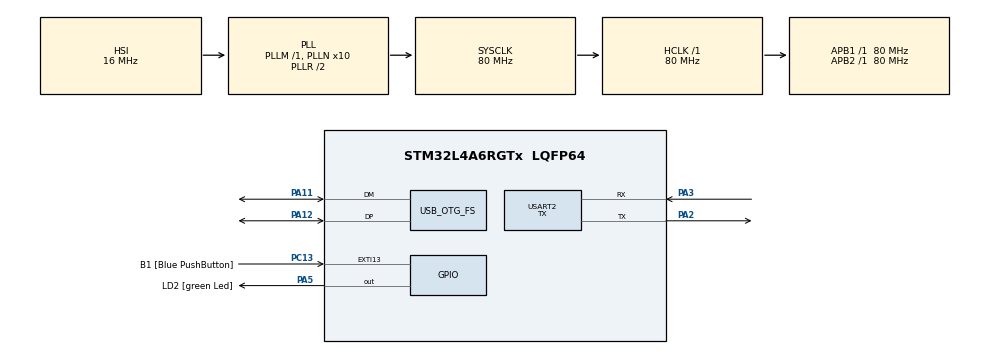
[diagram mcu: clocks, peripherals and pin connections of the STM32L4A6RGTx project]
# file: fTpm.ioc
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Mcu.Family=STM32L4
Mcu.Name=STM32L4A6RGTx
Mcu.Package=LQFP64
NVIC.OTG_FS_IRQn=true\:0\:0\:false\:false\:true\:false
NVIC.PriorityGroup=NVIC_PRIORITYGROUP_4
PA11.Mode=Device_Only
PA11.Signal=USB_OTG_FS_DM
PA12.Mode=Device_Only
PA12.Signal=USB_OTG_FS_DP
PA13\ (JTMS/SWDIO).Mode=Trace_Asynchronous_SW
PA13\ (JTMS/SWDIO).Signal=SYS_JTMS-SWDIO
PA14\ (JTCK/SWCLK).Mode=Trace_Asynchronous_SW
PA14\ (JTCK/SWCLK).Signal=SYS_JTCK-SWCLK
PA2.Mode=Asynchronous
PA2.Signal=USART2_TX
PA3.Mode=Asynchronous
PA3.Signal=USART2_RX
PA5.GPIO_Label=LD2 [green Led]
PA5.Signal=GPIO_Output
PB3\ (JTDO/TRACESWO).Mode=Trace_Asynchronous_SW
PB3\ (JTDO/TRACESWO).Signal=SYS_JTDO-SWO
PC13.GPIO_Label=B1 [Blue PushButton]
PC13.Signal=GPXTI13
PC14-OSC32_IN\ (PC14).Mode=LSE-External-Oscillator
PC14-OSC32_IN\ (PC14).Signal=RCC_OSC32_IN
PC15-OSC32_OUT\ (PC15).Mode=LSE-External-Oscillator
PC15-OSC32_OUT\ (PC15).Signal=RCC_OSC32_OUT
ProjectManager.HeapSize=0x2000
ProjectManager.StackSize=0x2000
ProjectManager.TargetToolchain=TrueSTUDIO
RCC.ADCFreq_Value=64000000
RCC.AHBFreq_Value=80000000
RCC.APB1Freq_Value=80000000
RCC.APB1TimFreq_Value=80000000
RCC.APB2Freq_Value=80000000
RCC.APB2TimFreq_Value=80000000
RCC.CK48CLockSelection=RCC_USBCLKSOURCE_HSI48
RCC.CortexFreq_Value=80000000
RCC.HCLKFreq_Value=80000000
RCC.HSE_VALUE=8000000
RCC.HSI48_VALUE=48000000
RCC.HSI_VALUE=16000000
RCC.MSI_VALUE=4000000
RCC.PLLN=10
RCC.PLLSourceVirtual=RCC_PLLSOURCE_HSI
RCC.RTCClockSelection=RCC_RTCCLKSOURCE_LSE
RCC.SYSCLKFreq_VALUE=80000000
RCC.SYSCLKSource=RCC_SYSCLKSOURCE_PLLCLK
RCC.USBFreq_Value=48000000
RCC.VCOOutputFreq_Value=160000000
RTC.Format=RTC_FORMAT_BIN
USART2.Mode=MODE_TX
USART2.VirtualMode-Asynchronous=VM_ASYNC
USART2.WordLength=WORDLENGTH_8B
USB_DEVICE.CLASS_NAME_FS=CDC
USB_DEVICE.VirtualMode=Cdc
USB_DEVICE.VirtualModeFS=Cdc_FS
USB_OTG_FS.VirtualMode=Device_Only
VP_RNG_VS_RNG.Mode=RNG_Activate
VP_RTC_VS_RTC_Activate.Mode=RTC_Enabled
VP_RTC_VS_RTC_Calendar.Mode=RTC_Calendar
VP_USB_DEVICE_VS_USB_DEVICE_CDC_FS.Mode=CDC_FS
board=fTpm

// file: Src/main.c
/**
  ******************************************************************************
  * @file           : main.c
  * @brief          : Main program body
  ******************************************************************************
  * This notice applies to any and all portions of this file
  * that are not between comment pairs USER CODE BEGIN and
  * USER CODE END. Other portions of this file, whether
  * inserted by the user or by software development tools
  * are owned by their respective copyright owners.
  *
  * Copyright (c) 2018 STMicroelectronics International N.V.
  * All rights reserved.
  *
  * Redistribution and use in source and binary forms, with or without
  * modification, are permitted, provided that the following conditions are met:
  *
  * 1. Redistribution of source code must retain the above copyright notice,
  *    this list of conditions and the following disclaimer.
  * 2. Redistributions in binary form must reproduce the above copyright notice,
  *    this list of conditions and the following disclaimer in the documentation
  *    and/or other materials provided with the distribution.
  * 3. Neither the name of STMicroelectronics nor the names of other
  *    contributors to this software may be used to endorse or promote products
  *    derived from this software without specific written permission.
  * 4. This software, including modifications and/or derivative works of this
  *    software, must execute solely and exclusively on microcontroller or
  *    microprocessor devices manufactured by or for STMicroelectronics.
  * 5. Redistribution and use of this software other than as permitted under
  *    this license is void and will automatically terminate your rights under
  *    this license.
  *
  * THIS SOFTWARE IS PROVIDED BY STMICROELECTRONICS AND CONTRIBUTORS "AS IS"
  * AND ANY EXPRESS, IMPLIED OR STATUTORY WARRANTIES, INCLUDING, BUT NOT
  * LIMITED TO, THE IMPLIED WARRANTIES OF MERCHANTABILITY, FITNESS FOR A
  * PARTICULAR PURPOSE AND NON-INFRINGEMENT OF THIRD PARTY INTELLECTUAL PROPERTY
  * RIGHTS ARE DISCLAIMED TO THE FULLEST EXTENT PERMITTED BY LAW. IN NO EVENT
  * SHALL STMICROELECTRONICS OR CONTRIBUTORS BE LIABLE FOR ANY DIRECT, INDIRECT,
  * INCIDENTAL, SPECIAL, EXEMPLARY, OR CONSEQUENTIAL DAMAGES (INCLUDING, BUT NOT
  * LIMITED TO, PROCUREMENT OF SUBSTITUTE GOODS OR SERVICES; LOSS OF USE, DATA,
  * OR PROFITS; OR BUSINESS INTERRUPTION) HOWEVER CAUSED AND ON ANY THEORY OF
  * LIABILITY, WHETHER IN CONTRACT, STRICT LIABILITY, OR TORT (INCLUDING
  * NEGLIGENCE OR OTHERWISE) ARISING IN ANY WAY OUT OF THE USE OF THIS SOFTWARE,
  * EVEN IF ADVISED OF THE POSSIBILITY OF SUCH DAMAGE.
  *
  ******************************************************************************
  */
#include "main.h"
#include "stm32l4xx_hal.h"
#include "usb_device.h"

/* USER CODE BEGIN Includes */
#include <stdint.h>
#include <stdbool.h>
#include <time.h>
#include "StmUtil.h"
#include <cyrep/RiotTarget.h>
#include <cyrep/RiotStatus.h>
#include <cyrep/RiotEcc.h>
#include <cyrep/RiotCrypt.h>
#include <BarnacleTA.h>
#include "TpmDevice.h"

/* USER CODE END Includes */

RNG_HandleTypeDef hrng;

RTC_HandleTypeDef hrtc;

UART_HandleTypeDef huart2;

/* USER CODE BEGIN PV */
/* Private variables ---------------------------------------------------------*/

/* USER CODE END PV */

void SystemClock_Config(void);
static void MX_GPIO_Init(void);
static void MX_USART2_UART_Init(void);
static void MX_RNG_Init(void);
static void MX_RTC_Init(void);

/* USER CODE BEGIN PFP */
/* Private function prototypes -----------------------------------------------*/

/* USER CODE END PFP */

int main(void)
{
  /* USER CODE BEGIN 1 */
  char agentPolicy[] = "This is the agent policy.\r\n";
  /* USER CODE END 1 */

  /* MCU Configuration----------------------------------------------------------*/

  /* Reset of all peripherals, Initializes the Flash interface and the Systick. */
  HAL_Init();

  /* Configure the system clock */
  SystemClock_Config();

  /* Initialize all configured peripherals */
  MX_GPIO_Init();
  MX_USART2_UART_Init();
  MX_RNG_Init();
  MX_RTC_Init();
  MX_USB_DEVICE_Init();
  /* USER CODE BEGIN 2 */
  InitializeITM();
  char* dateStr = asctime(localtime((time_t*)&AgentHdrTA.s.sign.agent.issued));
  dateStr[24] = '\0';
  dbgPrintAppend("\r\n\r\n=============================\r\n"
                         "= Nucleo-L4A6RG fTPM 2.0 TA =\r\n"
                         "=============================\r\n"
                         "%s (%u bytes, V%d.%d, %s)\r\n",
                         AgentHdrTA.s.sign.agent.name,
                         (unsigned int)AgentHdrTA.s.sign.agent.size,
                         (short unsigned int)AgentHdrTA.s.sign.agent.version >> 16,
                         (short unsigned int)AgentHdrTA.s.sign.agent.version % 0x0000ffff,
                         dateStr);
  logInfo("DeviceID:\r\n0x");
  {
      uint8_t devicePub[65] = {0};
      RiotCrypt_ExportEccPub((RIOT_ECC_PUBLIC*)&CertStoreTA.info.devicePubKey, devicePub, NULL);
      for(uint32_t n = 0; n < sizeof(devicePub); n++)
      {
          if (!((n + 1) % 22) && (n > 0)) dbgPrintAppend("\r\n");
          dbgPrintAppend("%02x", devicePub[n]);
      }
  }
  dbgPrintAppend("\r\n");

  if(!BarnacleTADerivePolicyIdentity((uint8_t*)agentPolicy, sizeof(agentPolicy)))
  {
      logError("BarnacleDerivePolicyIdentity() failed.\r\n");
      Error_Handler();
  }
  logInfo("CertStore:\r\n");
  BarnacleTAPrintCertStore(stderr);

  printf("Nucleo-L4A6RG fTPM 2.0 TA\r\n"
         "%s (%u bytes, V%d.%d, %s)\r\n"
         "CertStore:\r\n",
         AgentHdrTA.s.sign.agent.name,
         (unsigned int)AgentHdrTA.s.sign.agent.size,
         (short unsigned int)AgentHdrTA.s.sign.agent.version >> 16,
         (short unsigned int)AgentHdrTA.s.sign.agent.version % 0x0000ffff,
         dateStr);
  BarnacleTAPrintCertStore(stdout);

  if(!TpmInitializeDevice())
  {
      _Error_Handler(__FILE__, __LINE__);
  }

  /* USER CODE END 2 */

  /* Infinite loop */
  while (1)
  {

  /* USER CODE BEGIN 3 */
      if(!TpmOperationsLoop())
      {
          _Error_Handler(__FILE__, __LINE__);
      }
  }
  /* USER CODE END 3 */

}

void SystemClock_Config(void)
{

  RCC_OscInitTypeDef RCC_OscInitStruct;
  RCC_ClkInitTypeDef RCC_ClkInitStruct;
  RCC_PeriphCLKInitTypeDef PeriphClkInit;

    /**Configure LSE Drive Capability
    */
  HAL_PWR_EnableBkUpAccess();

  __HAL_RCC_LSEDRIVE_CONFIG(RCC_LSEDRIVE_LOW);

    /**Initializes the CPU, AHB and APB busses clocks
    */
  RCC_OscInitStruct.OscillatorType = RCC_OSCILLATORTYPE_HSI48|RCC_OSCILLATORTYPE_HSI
                              |RCC_OSCILLATORTYPE_LSE;
  RCC_OscInitStruct.LSEState = RCC_LSE_ON;
  RCC_OscInitStruct.HSIState = RCC_HSI_ON;
  RCC_OscInitStruct.HSI48State = RCC_HSI48_ON;
  RCC_OscInitStruct.HSICalibrationValue = 64;
  RCC_OscInitStruct.PLL.PLLState = RCC_PLL_ON;
  RCC_OscInitStruct.PLL.PLLSource = RCC_PLLSOURCE_HSI;
  RCC_OscInitStruct.PLL.PLLM = 1;
  RCC_OscInitStruct.PLL.PLLN = 10;
  RCC_OscInitStruct.PLL.PLLP = RCC_PLLP_DIV2;
  RCC_OscInitStruct.PLL.PLLQ = RCC_PLLQ_DIV2;
  RCC_OscInitStruct.PLL.PLLR = RCC_PLLR_DIV2;
  if (HAL_RCC_OscConfig(&RCC_OscInitStruct) != HAL_OK)
  {
    _Error_Handler(__FILE__, __LINE__);
  }

    /**Initializes the CPU, AHB and APB busses clocks
    */
  RCC_ClkInitStruct.ClockType = RCC_CLOCKTYPE_HCLK|RCC_CLOCKTYPE_SYSCLK
                              |RCC_CLOCKTYPE_PCLK1|RCC_CLOCKTYPE_PCLK2;
  RCC_ClkInitStruct.SYSCLKSource = RCC_SYSCLKSOURCE_PLLCLK;
  RCC_ClkInitStruct.AHBCLKDivider = RCC_SYSCLK_DIV1;
  RCC_ClkInitStruct.APB1CLKDivider = RCC_HCLK_DIV1;
  RCC_ClkInitStruct.APB2CLKDivider = RCC_HCLK_DIV1;

  if (HAL_RCC_ClockConfig(&RCC_ClkInitStruct, FLASH_LATENCY_4) != HAL_OK)
  {
    _Error_Handler(__FILE__, __LINE__);
  }

  PeriphClkInit.PeriphClockSelection = RCC_PERIPHCLK_RTC|RCC_PERIPHCLK_USART2
                              |RCC_PERIPHCLK_USB|RCC_PERIPHCLK_RNG;
  PeriphClkInit.Usart2ClockSelection = RCC_USART2CLKSOURCE_PCLK1;
  PeriphClkInit.RTCClockSelection = RCC_RTCCLKSOURCE_LSE;
  PeriphClkInit.UsbClockSelection = RCC_USBCLKSOURCE_HSI48;
  PeriphClkInit.RngClockSelection = RCC_RNGCLKSOURCE_HSI48;
  if (HAL_RCCEx_PeriphCLKConfig(&PeriphClkInit) != HAL_OK)
  {
    _Error_Handler(__FILE__, __LINE__);
  }

    /**Configure the main internal regulator output voltage
    */
  if (HAL_PWREx_ControlVoltageScaling(PWR_REGULATOR_VOLTAGE_SCALE1) != HAL_OK)
  {
    _Error_Handler(__FILE__, __LINE__);
  }

    /**Configure the Systick interrupt time
    */
  HAL_SYSTICK_Config(HAL_RCC_GetHCLKFreq()/1000);

    /**Configure the Systick
    */
  HAL_SYSTICK_CLKSourceConfig(SYSTICK_CLKSOURCE_HCLK);

  /* SysTick_IRQn interrupt configuration */
  HAL_NVIC_SetPriority(SysTick_IRQn, 0, 0);
}

/* RNG init function */
static void MX_RNG_Init(void)
{

  hrng.Instance = RNG;
  if (HAL_RNG_Init(&hrng) != HAL_OK)
  {
    _Error_Handler(__FILE__, __LINE__);
  }

}

/* RTC init function */
static void MX_RTC_Init(void)
{

  RTC_TimeTypeDef sTime;
  RTC_DateTypeDef sDate;

    /**Initialize RTC Only
    */
  hrtc.Instance = RTC;
if(HAL_RTCEx_BKUPRead(&hrtc, RTC_BKP_DR0) != 0x32F2){
  hrtc.Init.HourFormat = RTC_HOURFORMAT_24;
  hrtc.Init.AsynchPrediv = 127;
  hrtc.Init.SynchPrediv = 255;
  hrtc.Init.OutPut = RTC_OUTPUT_DISABLE;
  hrtc.Init.OutPutRemap = RTC_OUTPUT_REMAP_NONE;
  hrtc.Init.OutPutPolarity = RTC_OUTPUT_POLARITY_HIGH;
  hrtc.Init.OutPutType = RTC_OUTPUT_TYPE_OPENDRAIN;
  if (HAL_RTC_Init(&hrtc) != HAL_OK)
  {
    _Error_Handler(__FILE__, __LINE__);
  }

    /**Initialize RTC and set the Time and Date
    */
  sTime.Hours = 0;
  sTime.Minutes = 0;
  sTime.Seconds = 0;
  sTime.DayLightSaving = RTC_DAYLIGHTSAVING_NONE;
  sTime.StoreOperation = RTC_STOREOPERATION_RESET;
  if (HAL_RTC_SetTime(&hrtc, &sTime, RTC_FORMAT_BIN) != HAL_OK)
  {
    _Error_Handler(__FILE__, __LINE__);
  }

  sDate.WeekDay = RTC_WEEKDAY_MONDAY;
  sDate.Month = RTC_MONTH_JANUARY;
  sDate.Date = 1;
  sDate.Year = 0;

  if (HAL_RTC_SetDate(&hrtc, &sDate, RTC_FORMAT_BIN) != HAL_OK)
  {
    _Error_Handler(__FILE__, __LINE__);
  }

    HAL_RTCEx_BKUPWrite(&hrtc,RTC_BKP_DR0,0x32F2);
  }

}

/* USART2 init function */
static void MX_USART2_UART_Init(void)
{

  huart2.Instance = USART2;
  huart2.Init.BaudRate = 115200;
  huart2.Init.WordLength = UART_WORDLENGTH_8B;
  huart2.Init.StopBits = UART_STOPBITS_1;
  huart2.Init.Parity = UART_PARITY_NONE;
  huart2.Init.Mode = UART_MODE_TX;
  huart2.Init.HwFlowCtl = UART_HWCONTROL_NONE;
  huart2.Init.OverSampling = UART_OVERSAMPLING_16;
  huart2.Init.OneBitSampling = UART_ONE_BIT_SAMPLE_DISABLE;
  huart2.AdvancedInit.AdvFeatureInit = UART_ADVFEATURE_NO_INIT;
  if (HAL_UART_Init(&huart2) != HAL_OK)
  {
    _Error_Handler(__FILE__, __LINE__);
  }

}

/** Configure pins as
        * Analog
        * Input
        * Output
        * EVENT_OUT
        * EXTI
*/
static void MX_GPIO_Init(void)
{

  GPIO_InitTypeDef GPIO_InitStruct;

  /* GPIO Ports Clock Enable */
  __HAL_RCC_GPIOC_CLK_ENABLE();
  __HAL_RCC_GPIOA_CLK_ENABLE();
  __HAL_RCC_GPIOB_CLK_ENABLE();

  /*Configure GPIO pin Output Level */
  HAL_GPIO_WritePin(LD2_GPIO_Port, LD2_Pin, GPIO_PIN_RESET);

  /*Configure GPIO pin : B1_Pin */
  GPIO_InitStruct.Pin = B1_Pin;
  GPIO_InitStruct.Mode = GPIO_MODE_IT_RISING;
  GPIO_InitStruct.Pull = GPIO_NOPULL;
  HAL_GPIO_Init(B1_GPIO_Port, &GPIO_InitStruct);

  /*Configure GPIO pin : LD2_Pin */
  GPIO_InitStruct.Pin = LD2_Pin;
  GPIO_InitStruct.Mode = GPIO_MODE_OUTPUT_PP;
  GPIO_InitStruct.Pull = GPIO_NOPULL;
  GPIO_InitStruct.Speed = GPIO_SPEED_FREQ_LOW;
  HAL_GPIO_Init(LD2_GPIO_Port, &GPIO_InitStruct);

}

void _Error_Handler(char *file, int line)
{
  /* USER CODE BEGIN Error_Handler_Debug */
    dbgPrint("PANIC: EXECUTION HALTED %s@%d\r\n", file, line);
  /* User can add his own implementation to report the HAL error return state */
  while(1)
  {
  }
  /* USER CODE END Error_Handler_Debug */
}

/************************ (C) COPYRIGHT STMicroelectronics *****END OF FILE****/
